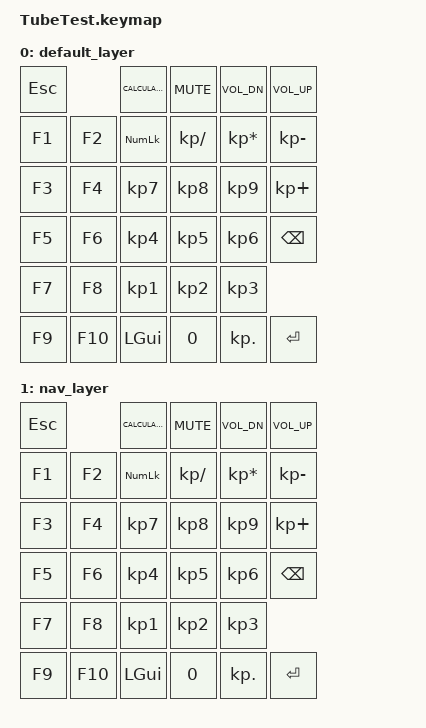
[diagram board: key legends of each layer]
#include <behaviors.dtsi>
#include <dt-bindings/zmk/keys.h>

// ------------------default-----------------
// |    ESC   |          |  CALC    |   MUTE  |   VolD  |  VolUp  |
// |    F1    |    F2    | LAYERSFT |    /    |    *    |    -    |
// |    F3    |    F4    |    7     |    8    |    9    |    +    |
// |    F5    |    F6    |    4     |    5    |    6    |BACKSPACE|
// |    F7    |    F8    |    1     |    2    |    3    |         |
// |    F9    |    F10   |    NOP   |    0    |    .    |  ENTER  |

/ {  
    keymap {
        compatible = "zmk,keymap";

        default_layer {
            bindings = <
&kp ESC           &kp K_CALCULATOR  &kp K_MUTE     &kp C_VOL_DN     &kp C_VOLUME_UP
&kp F1   &kp F2   &kp KP_NUMLOCK    &kp KP_DIVIDE  &kp KP_MULTIPLY  &kp KP_MINUS
&kp F3   &kp F4   &kp KP_N7         &kp KP_N8      &kp KP_N9        &kp KP_PLUS
&kp F5   &kp F6   &kp KP_N4         &kp KP_N5      &kp KP_N6        &kp BACKSPACE
&kp F7   &kp F8   &kp KP_N1         &kp KP_N2      &kp KP_N3
&kp F9   &kp F10  &kp LEFT_GUI      &kp N0         &kp KP_DOT       &kp ENTER
            >;
        }; 
        
        nav_layer {
            bindings = <
&kp ESC           &kp K_CALCULATOR  &kp K_MUTE     &kp C_VOL_DN     &kp C_VOLUME_UP
&kp F1   &kp F2   &kp KP_NUMLOCK    &kp KP_DIVIDE  &kp KP_MULTIPLY  &kp KP_MINUS
&kp F3   &kp F4   &kp KP_N7         &kp KP_N8      &kp KP_N9        &kp KP_PLUS
&kp F5   &kp F6   &kp KP_N4         &kp KP_N5      &kp KP_N6        &kp BACKSPACE
&kp F7   &kp F8   &kp KP_N1         &kp KP_N2      &kp KP_N3
&kp F9   &kp F10  &kp LEFT_GUI      &kp N0         &kp KP_DOT       &kp ENTER
            >;
        };
    };
};
